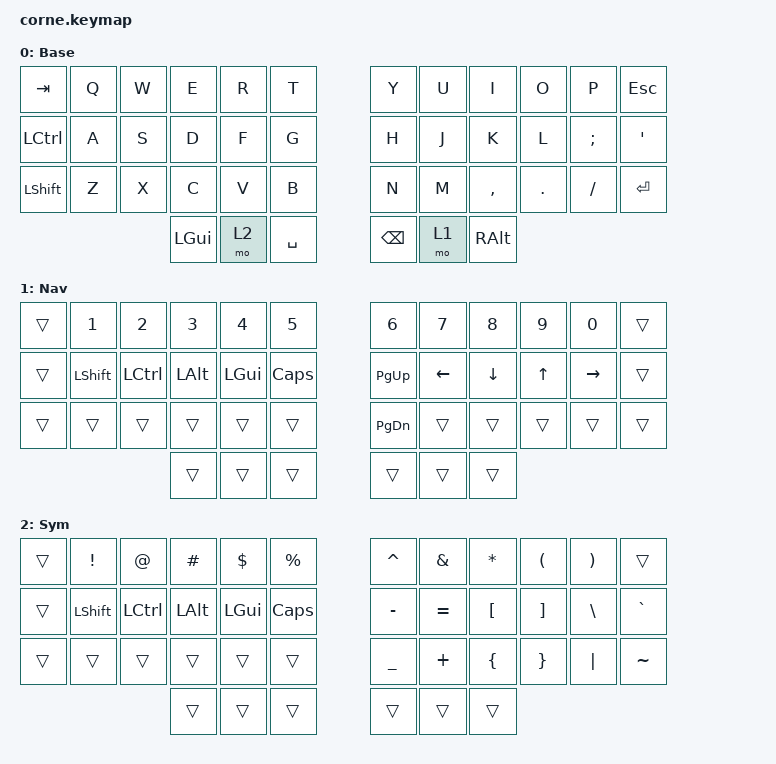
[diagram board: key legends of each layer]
/*
 * Copyright (c) 2020 The ZMK Contributors
 *
 * SPDX-License-Identifier: MIT
 */

#include <behaviors.dtsi>
#include <dt-bindings/zmk/keys.h>
#include <dt-bindings/zmk/bt.h>

/ {
    keymap {
        compatible = "zmk,keymap";

        Base {
            // -----------------------------------------------------------------------------------------
            // |  TAB |  Q  |  W  |  E  |  R  |  T  |   |  Y   |  U   |  I  |  O  |  P  | ESC  |
            // | CTRL |  A  |  S  |  D  |  F  |  G  |   |  H   |  J   |  K  |  L  |  ;  |  '   |
            // | SHFT |  Z  |  X  |  C  |  V  |  B  |   |  N   |  M   |  ,  |  .  |  /  | ENT  |
            //                    | GUI | LWR | SPC |   | BKSP | RSE  | ALT |

            bindings = <
&kp TAB    &kp Q  &kp W  &kp E     &kp R  &kp T        &kp Y          &kp U  &kp I      &kp O    &kp P     &kp ESC
&kp LCTRL  &kp A  &kp S  &kp D     &kp F  &kp G        &kp H          &kp J  &kp K      &kp L    &kp SEMI  &kp SQT
&kp LSHFT  &kp Z  &kp X  &kp C     &kp V  &kp B        &kp N          &kp M  &kp COMMA  &kp DOT  &kp FSLH  &kp ENTER
                         &kp LGUI  &mo 2  &kp SPACE    &kp BKSP       &mo 1  &kp RALT
            >;
        };

        Nav {
            // -----------------------------------------------------------------------------------------
            // |      |  1   |  2   |  3  |  4  |  5   |   |  6   |  7  |  8  |  9  |  0  |      |
            // |      | SHFT | CTRL | ALT | GUI | CAPS |   | PGUP | LFT | DWN | UP  | RGT |      |
            // |      |      |      |     |     |      |   | PGDN |     |     |     |     |      |
            //                      |     |     |      |   |      |     |     |

            bindings = <
&trans  &kp N1     &kp N2     &kp N3    &kp N4    &kp N5          &kp N6     &kp N7    &kp N8    &kp N9  &kp N0     &trans
&trans  &kp LSHFT  &kp LCTRL  &kp LALT  &kp LGUI  &kp CAPSLOCK    &kp PG_UP  &kp LEFT  &kp DOWN  &kp UP  &kp RIGHT  &trans
&trans  &trans     &trans     &trans    &trans    &trans          &kp PG_DN  &trans    &trans    &trans  &trans     &trans
                              &trans    &trans    &trans          &trans     &trans    &trans
            >;
        };

        Sym {
            // -----------------------------------------------------------------------------------------
            // |      |  !   |  @   |  #  |  $  |  %   |   |  ^  |  &  |  *  |  (  |  )  |      |
            // |      | SHFT | CTRL | ALT | GUI | CAPS |   |  -  |  =  |  [  |  ]  |  \  |  `   |
            // |      |      |      |     |     |      |   |  _  |  +  |  {  |  }  | "|" |  ~   |
            //                      |     |     |      |   |     |     |     |

            bindings = <
&trans  &kp EXCL   &kp AT     &kp HASH  &kp DLLR  &kp PRCNT     &kp CARET  &kp AMPS   &kp ASTRK  &kp LPAR  &kp RPAR  &trans
&trans  &kp LSHFT  &kp LCTRL  &kp LALT  &kp LGUI  &kp CAPSLOCK  &kp MINUS  &kp EQUAL  &kp LBKT   &kp RBKT  &kp BSLH  &kp GRAVE
&trans  &trans     &trans     &trans    &trans    &trans        &kp UNDER  &kp PLUS   &kp LBRC   &kp RBRC  &kp PIPE  &kp TILDE
                              &trans    &trans    &trans        &trans     &trans     &trans
            >;
        };
    };
};

